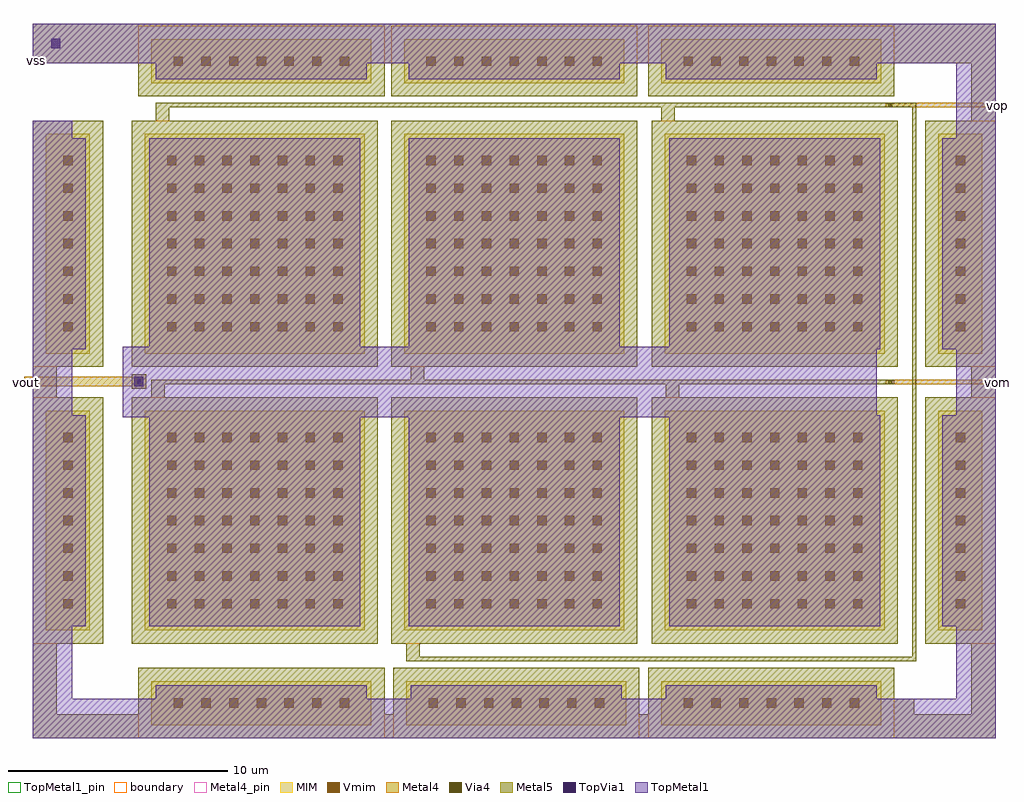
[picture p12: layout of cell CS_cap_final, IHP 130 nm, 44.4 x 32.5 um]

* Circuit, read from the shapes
.subckt CS_cap_final vom vop vout vss
XC1 vss vss cap_cmim w=2u l=10u m=4
XC2 vout vom cap_cmim w=10u l=10u m=3
XC3 vout vop cap_cmim w=10u l=10u m=3
XC4 vss vss cap_cmim w=10u l=2u m=6
.ends

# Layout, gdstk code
from math import pi, radians
import gdstk
lib = gdstk.Library(unit=1e-6, precision=1e-09)
def R(c, l, rs):  # rectangles x0, y0, x1, y1
    for r in rs: c.add(gdstk.rectangle(r[:2], r[2:], *l))
def A(c, l, x, y, w, h, nx, ny, dx, dy):  # array of equal rectangles
    R(c, l, [(x+i*dx, y+j*dy, x+i*dx+w, y+j*dy+h) for i in range(nx) for j in range(ny)])
MIM = (36, 0)
Metal4 = (50, 0)
Metal4_pin = (50, 2)
Via4 = (66, 0)
Metal5 = (67, 0)
TopVia1 = (125, 0)
TopMetal1 = (126, 0)
TopMetal1_pin = (126, 2)
Vmim = (129, 0)
boundary = (189, 4)

cap_cmim_mv9cwz = lib.new_cell('cap_cmim_MV9CWZ')
R(cap_cmim_mv9cwz, MIM, [(-5,-1,5,1)])
R(cap_cmim_mv9cwz, Metal5, [(-5.6,-1.6,5.6,1.6)])
R(cap_cmim_mv9cwz, TopMetal1, [(-4.8,-0.82,4.8,0.82)])
A(cap_cmim_mv9cwz, Vmim, -3.99, -0.21, 0.42, 0.42, 7, 1, 1.26, 0)
R(cap_cmim_mv9cwz, boundary, [(-5.6,-1.6,5.6,1.6)])
cap_cmim_mv9cwz.add(gdstk.Label('C1', (0,0), layer=126, texttype=25))
cap_cmim_mv9cwz.add(gdstk.Label('C2', (5.1,0), layer=67, texttype=25))

cap_cmim_rcjhdk = lib.new_cell('cap_cmim_RCJHDK')
R(cap_cmim_rcjhdk, MIM, [(-5,-5,5,5)])
R(cap_cmim_rcjhdk, Metal5, [(-5.6,-5.6,5.6,5.6)])
R(cap_cmim_rcjhdk, TopMetal1, [(-4.8,-4.8,4.8,4.8)])
A(cap_cmim_rcjhdk, Vmim, -3.99, -3.99, 0.42, 0.42, 7, 7, 1.26, 1.26)
R(cap_cmim_rcjhdk, boundary, [(-5.6,-5.6,5.6,5.6)])
cap_cmim_rcjhdk.add(gdstk.Label('C1', (0,0), layer=126, texttype=25))
cap_cmim_rcjhdk.add(gdstk.Label('C2', (5.1,0), layer=67, texttype=25))

cs_cap_final = lib.new_cell('CS_cap_final')
R(cs_cap_final, Metal4, [(-0.3,-0.8,0.35,-0.7), (-5.2,-0.7,0.35,-0.25), (34,-0.6,39.2,-0.4), (-0.3,-0.25,0.35,-0.15), (34,12,39.2,12.2)])
R(cs_cap_final, Metal4_pin, [(-5.2,-0.6,-5,-0.4), (39,-0.6,39.2,-0.4), (39,12,39.2,12.2)])
R(cs_cap_final, Via4, [(34.105,-0.595,34.295,-0.405), (-0.07,-0.57,0.12,-0.38), (34.105,12.005,34.295,12.195)])
R(cs_cap_final, Metal5, [(-4.8,-16.7,39,-15.6), (-4.8,-15.6,-3.7,11.4), (34.3,-15.6,35.3,-14.9), (37.9,-15.6,39,14), (12.2,-13.2,35.4,-13), (12.2,-13,12.8,-11.6), (35.2,-13,35.4,12), (0.6,-2,1.2,-0.6), (24,-2,24.6,-0.6), (-0.3,-0.8,0.35,-0.15), (0.6,-0.6,34.4,-0.4), (12.4,-0.4,13,1), (0.8,10.6,1.4,12), (23.8,10.6,24.4,12), (0.8,12,35.4,12.2), (-4.8,14,39,15.8)])
R(cs_cap_final, TopVia1, [(-0.185,-0.685,0.235,-0.265), (-3.96,14.69,-3.54,15.11)])
R(cs_cap_final, TopMetal1, [(-4.8,-16.7,39,-14.9), (-4.8,-14.9,-3,11.4), (37.2,-14.9,39,14), (-0.7,-2.1,33.6,1.1), (-4.8,14,39,15.8)])
R(cs_cap_final, TopMetal1_pin, [(-4.8,14,-4.5,14.3)])
cs_cap_final.add(gdstk.Reference(cap_cmim_mv9cwz, (5.6,-15.1)))
cs_cap_final.add(gdstk.Reference(cap_cmim_mv9cwz, (-3.2,-6.8), rotation=3*pi/2))
cs_cap_final.add(gdstk.Reference(cap_cmim_rcjhdk, (5.3,-6.8)))
cs_cap_final.add(gdstk.Reference(cap_cmim_mv9cwz, (17.2,-15.1)))
cs_cap_final.add(gdstk.Reference(cap_cmim_rcjhdk, (17.1,-6.8)))
cs_cap_final.add(gdstk.Reference(cap_cmim_mv9cwz, (28.8,-15.1)))
cs_cap_final.add(gdstk.Reference(cap_cmim_rcjhdk, (28.95,-6.8)))
cs_cap_final.add(gdstk.Reference(cap_cmim_mv9cwz, (37.4,-6.8), rotation=3*pi/2))
cs_cap_final.add(gdstk.Reference(cap_cmim_mv9cwz, (-3.2,5.8), rotation=3*pi/2))
cs_cap_final.add(gdstk.Reference(cap_cmim_rcjhdk, (5.3,5.8)))
cs_cap_final.add(gdstk.Reference(cap_cmim_rcjhdk, (17.1,5.8)))
cs_cap_final.add(gdstk.Reference(cap_cmim_rcjhdk, (28.95,5.8)))
cs_cap_final.add(gdstk.Reference(cap_cmim_mv9cwz, (37.4,5.8), rotation=3*pi/2))
cs_cap_final.add(gdstk.Reference(cap_cmim_mv9cwz, (5.6,14.1)))
cs_cap_final.add(gdstk.Reference(cap_cmim_mv9cwz, (17.1,14.1)))
cs_cap_final.add(gdstk.Reference(cap_cmim_mv9cwz, (28.8,14.1)))
cs_cap_final.add(gdstk.Label('vout', (-5.1,-0.5), layer=50, texttype=25))
cs_cap_final.add(gdstk.Label('vop', (39.1,12.1), layer=50, texttype=25))
cs_cap_final.add(gdstk.Label('vom', (39.1,-0.5), layer=50, texttype=25))
cs_cap_final.add(gdstk.Label('vss', (-4.65,14.15), layer=126, texttype=25))

lib.write_gds('CS_cap_final.gds')
